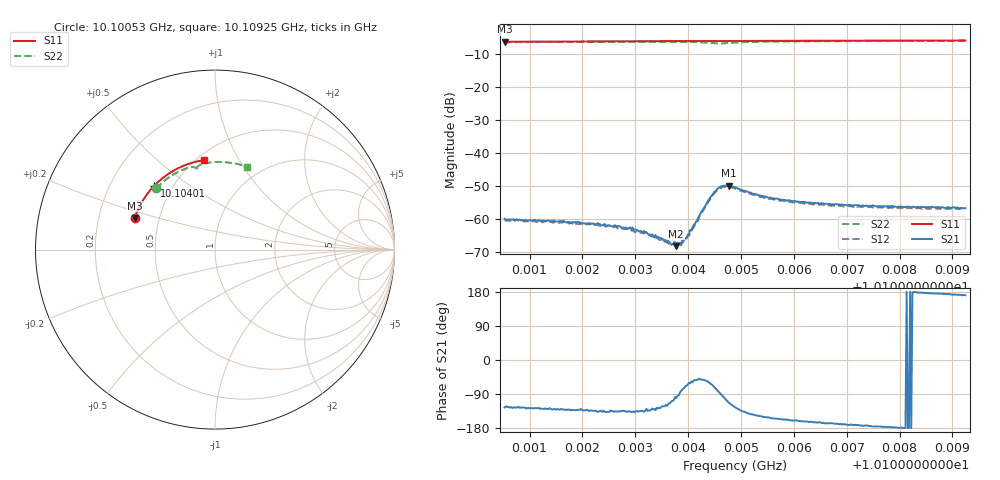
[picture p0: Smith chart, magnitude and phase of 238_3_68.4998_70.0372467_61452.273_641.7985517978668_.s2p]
#  HZ  S  RI  R  50.00
! Rohde & Schwarz Vector Network Analyzer
! Rohde-Schwarz,ZNB20-2Port,1311601062101988,3.16
! Created: UTC 3/20/2024, 4:59:14 PM
! freq[Hz]  re:S11  im:S11  re:S21  im:S21  re:S12  im:S12  re:S22  im:S22
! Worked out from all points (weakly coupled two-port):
!   401 points, 10.10053 GHz to 10.10925 GHz, reference 50 ohm
!   highest |S21| = -49.85 dB at 10.10478 GHz (marker M1); lowest = -68.1 dB at 10.10377 GHz (marker M2)
!   lowest |S11| = -6.4 dB at 10.10053 GHz (marker M3), VSWR 2.85, Z = 18.1 + j8.3 ohm
!   |S11| at or under -10 dB: nowhere
!   |S22| runs from -6.9 to -6.1 dB; largest |S21 - S12| = 0.00033
!   S11 on the Smith chart (normalised r, x): 10.10053 GHz: 0.36, +0.17; 10.10401 GHz: 0.40, +0.37; 10.10925 GHz: 0.54, +0.73
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1.0100528e10  -0.4468 0.1764  -0.000588 -0.000825  -0.000462 -0.00085  -0.3273 0.3412
1.0101988e10  -0.4109 0.2577  -0.000577 -0.000646  -0.000524 -0.000654  -0.2558 0.4031
1.0102511e10  -0.3945 0.285  -0.00059 -0.000557  -0.000518 -0.000593  -0.2268 0.4215
1.0102925e10  -0.3803 0.3057  -0.000508 -0.000469  -0.000442 -0.000507  -0.2026 0.4347
1.0103165e10  -0.3715 0.3174  -0.00048 -0.000454  -0.000398 -0.00047  -0.188 0.4417
1.0103448e10  -0.3607 0.3309  -0.00031 -0.000427  -0.00026 -0.000419  -0.1699 0.449
1.0103666e10  -0.3521 0.3409  -0.000162 -0.000399  -9.21e-05 -0.000401  -0.1552 0.4539
1.0103775e10  -0.3476 0.3459  -6.94e-05 -0.000388  -1.6e-05 -0.000417  -0.1477 0.4562
1.0103819e10  -0.3458 0.3478  -2.37e-05 -0.000409  2.19e-05 -0.000397  -0.1445 0.4569
1.0103862e10  -0.3441 0.3496  5.54e-05 -0.000418  8.06e-05 -0.000393  -0.1414 0.4576
1.0103971e10  -0.3395 0.3545  0.000198 -0.000486  0.000247 -0.000449  -0.1331 0.4589
1.0104015e10  -0.3377 0.3564  0.000296 -0.000526  0.000306 -0.000469  -0.1295 0.4592
1.0104342e10  -0.3236 0.3704  0.000979 -0.00137  0.00103 -0.00124  -0.104 0.4541
1.0104494e10  -0.3169 0.3767  0.000826 -0.00244  0.000988 -0.00224  -0.0983 0.4455
1.0104625e10  -0.3111 0.3819  -4.61e-05 -0.00313  0.000208 -0.00294  -0.1016 0.4413
1.0104777e10  -0.3042 0.3879  -0.00127 -0.00296  -0.000968 -0.00293  -0.1053 0.4482
1.0104886e10  -0.2992 0.3922  -0.00173 -0.00249  -0.00142 -0.00253  -0.1028 0.4558
1.0105192e10  -0.2848 0.404  -0.002 -0.00151  -0.00179 -0.00161  -0.0844 0.4708
1.010554e10  -0.2678 0.4164  -0.00186 -0.000988  -0.00171 -0.00109  -0.0602 0.4796
1.0106347e10  -0.2264 0.4424  -0.00167 -0.000484  -0.00157 -0.000602  -0.00593 0.4878
1.0107807e10  -0.1457 0.4782  -0.00156 -9.37e-05  -0.00147 -0.000242  0.0886 0.4838
1.0109245e10  -0.0612 0.4986  -0.00145 0.000233  -0.00142 6.45e-05  0.1779 0.4618
